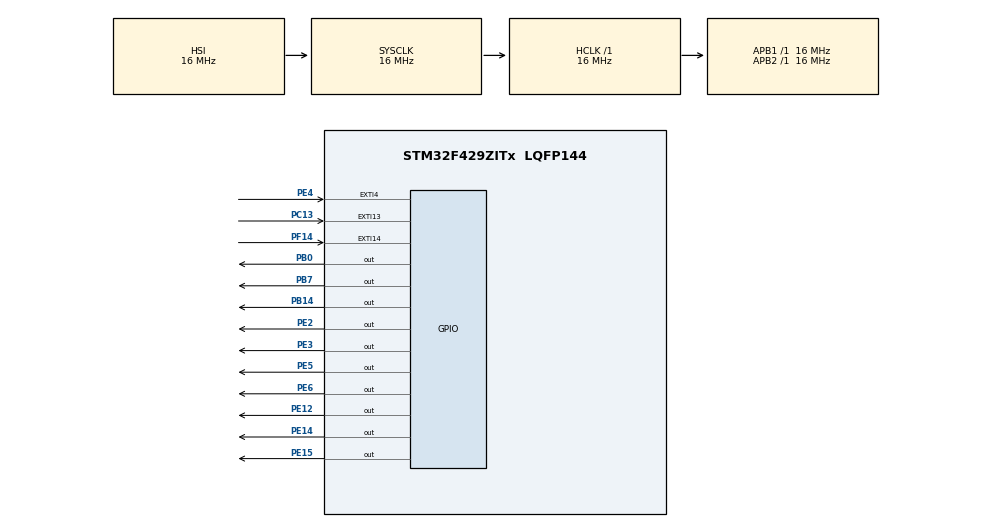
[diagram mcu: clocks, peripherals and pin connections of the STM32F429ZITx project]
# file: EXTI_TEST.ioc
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Mcu.Family=STM32F4
Mcu.Name=STM32F429ZITx
Mcu.Package=LQFP144
NVIC.EXTI15_10_IRQn=true\:0\:0\:false\:true\:true\:1\:true\:true\:true
NVIC.PriorityGroup=NVIC_PRIORITYGROUP_4
PB0.GPIO_Speed=GPIO_SPEED_FREQ_LOW
PB0.Signal=GPIO_Output
PB14.Signal=GPIO_Output
PB7.Signal=GPIO_Output
PC13.GPIO_PuPd=GPIO_PULLDOWN
PC13.Signal=GPXTI13
PE12.GPIO_PuPd=GPIO_PULLUP
PE12.Signal=GPIO_Output
PE14.Signal=GPIO_Output
PE15.Signal=GPIO_Output
PE2.Signal=GPIO_Output
PE3.Signal=GPIO_Output
PE4.Signal=GPXTI4
PE5.Signal=GPIO_Output
PE6.Signal=GPIO_Output
PF14.Signal=GPXTI14
ProjectManager.HeapSize=0x200
ProjectManager.StackSize=0x400
ProjectManager.TargetToolchain=STM32CubeIDE
RCC.AHBFreq_Value=16000000
RCC.APB1Freq_Value=16000000
RCC.APB2Freq_Value=16000000
RCC.CortexFreq_Value=16000000
RCC.HSE_VALUE=25000000
RCC.HSI_VALUE=16000000
RCC.LSE_VALUE=32768
RCC.SYSCLKFreq_VALUE=16000000
RCC.VCOOutputFreq_Value=192000000
board=custom

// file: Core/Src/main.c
/* USER CODE BEGIN Header */
/**
  ******************************************************************************
  * @file           : main.c
  * @brief          : Main program body
  ******************************************************************************
  * @attention
  *
  * Copyright (c) 2023 STMicroelectronics.
  * All rights reserved.
  *
  * This software is licensed under terms that can be found in the LICENSE file
  * in the root directory of this software component.
  * If no LICENSE file comes with this software, it is provided AS-IS.
  *
  ******************************************************************************
  */
/* USER CODE END Header */
#include "main.h"

void SystemClock_Config(void);
static void MX_GPIO_Init(void);
static void MX_NVIC_Init(void);
/* USER CODE BEGIN PFP */
//segment 핀 번호 설정
uint16_t a = GPIO_PIN_2;
uint16_t b = GPIO_PIN_12;
uint16_t c = GPIO_PIN_5;
uint16_t d = GPIO_PIN_6;
uint16_t e = GPIO_PIN_3;
uint16_t f = GPIO_PIN_14;
uint16_t g = GPIO_PIN_15;

char fnd[10][7] = {
{0,0,0,0,0,0,1}, // 0
{1,0,0,1,1,1,1}, // 1
{0,0,1,0,0,1,0}, // 2
{0,0,0,0,1,1,0}, // 3
{1,0,0,1,1,0,0}, // 4
{0,1,0,0,1,0,0}, // 5
{0,1,0,0,0,0,0}, // 6
{0,0,0,1,1,0,1}, // 7
{0,0,0,0,0,0,0}, // 8
{0,0,0,0,1,0,0}  // 9
};

int cnt = 0;

/* USER CODE END PFP */

int main(void)
{

  /* MCU Configuration--------------------------------------------------------*/

  /* Reset of all peripherals, Initializes the Flash interface and the Systick. */
  HAL_Init();

  /* Configure the system clock */
  SystemClock_Config();

  /* Initialize all configured peripherals */
  MX_GPIO_Init();

  /* Initialize interrupts */
  MX_NVIC_Init();

  /* Infinite loop */
  while (1)
  {
	//2차 배열로 출력하기.
	HAL_GPIO_WritePin(GPIOE, a, fnd[cnt][0]);
	HAL_GPIO_WritePin(GPIOE, b, fnd[cnt][1]);
	HAL_GPIO_WritePin(GPIOE, c, fnd[cnt][2]);
	HAL_GPIO_WritePin(GPIOE, d, fnd[cnt][3]);
	HAL_GPIO_WritePin(GPIOE, e, fnd[cnt][4]);
	HAL_GPIO_WritePin(GPIOE, f, fnd[cnt][5]);
	HAL_GPIO_WritePin(GPIOE, g, fnd[cnt][6]);
	HAL_Delay(300);
  }
}

void SystemClock_Config(void)
{
  RCC_OscInitTypeDef RCC_OscInitStruct = {0};
  RCC_ClkInitTypeDef RCC_ClkInitStruct = {0};

  /** Configure the main internal regulator output voltage
  */
  __HAL_RCC_PWR_CLK_ENABLE();
  __HAL_PWR_VOLTAGESCALING_CONFIG(PWR_REGULATOR_VOLTAGE_SCALE3);

  /** Initializes the RCC Oscillators according to the specified parameters
  * in the RCC_OscInitTypeDef structure.
  */
  RCC_OscInitStruct.OscillatorType = RCC_OSCILLATORTYPE_HSI;
  RCC_OscInitStruct.HSIState = RCC_HSI_ON;
  RCC_OscInitStruct.HSICalibrationValue = RCC_HSICALIBRATION_DEFAULT;
  RCC_OscInitStruct.PLL.PLLState = RCC_PLL_NONE;
  if (HAL_RCC_OscConfig(&RCC_OscInitStruct) != HAL_OK)
  {
    Error_Handler();
  }

  /** Initializes the CPU, AHB and APB buses clocks
  */
  RCC_ClkInitStruct.ClockType = RCC_CLOCKTYPE_HCLK|RCC_CLOCKTYPE_SYSCLK
                              |RCC_CLOCKTYPE_PCLK1|RCC_CLOCKTYPE_PCLK2;
  RCC_ClkInitStruct.SYSCLKSource = RCC_SYSCLKSOURCE_HSI;
  RCC_ClkInitStruct.AHBCLKDivider = RCC_SYSCLK_DIV1;
  RCC_ClkInitStruct.APB1CLKDivider = RCC_HCLK_DIV1;
  RCC_ClkInitStruct.APB2CLKDivider = RCC_HCLK_DIV1;

  if (HAL_RCC_ClockConfig(&RCC_ClkInitStruct, FLASH_LATENCY_0) != HAL_OK)
  {
    Error_Handler();
  }
}

/**
  * @brief NVIC Configuration.
  * @retval None
  */
static void MX_NVIC_Init(void)
{
  /* EXTI15_10_IRQn interrupt configuration */
  HAL_NVIC_SetPriority(EXTI15_10_IRQn, 0, 0);
  HAL_NVIC_EnableIRQ(EXTI15_10_IRQn);
//  HAL_NVIC_DisableIRQ(EXTI15_10_IRQn);

}

/*
 * pin 설정
 * PE를 segment output 으로 설정
 * PF14를 down button input으로 설정
 * PC13을 up button input으로 설정
 */
static void MX_GPIO_Init(void)
{
  GPIO_InitTypeDef GPIO_InitStruct = {0};

  /* GPIO Ports Clock Enable */
  __HAL_RCC_GPIOE_CLK_ENABLE();
  __HAL_RCC_GPIOC_CLK_ENABLE();
  __HAL_RCC_GPIOB_CLK_ENABLE();
  __HAL_RCC_GPIOF_CLK_ENABLE();

  /*Configure GPIO pin Output Level */
  HAL_GPIO_WritePin(GPIOE, GPIO_PIN_2|GPIO_PIN_3|GPIO_PIN_5|GPIO_PIN_6
                          |GPIO_PIN_12|GPIO_PIN_14|GPIO_PIN_15, GPIO_PIN_RESET);

  /*Configure GPIO pin Output Level */
  HAL_GPIO_WritePin(GPIOB, GPIO_PIN_0|GPIO_PIN_14|GPIO_PIN_7, GPIO_PIN_RESET);

  /*Configure GPIO pins : PE2 PE3 PE5 PE6
                           PE14 PE15 */
  GPIO_InitStruct.Pin = GPIO_PIN_2|GPIO_PIN_3|GPIO_PIN_5|GPIO_PIN_6
                          |GPIO_PIN_14|GPIO_PIN_15;
  GPIO_InitStruct.Mode = GPIO_MODE_OUTPUT_PP;
  GPIO_InitStruct.Pull = GPIO_PULLUP;
  GPIO_InitStruct.Speed = GPIO_SPEED_FREQ_LOW;
  HAL_GPIO_Init(GPIOE, &GPIO_InitStruct);

  /*Configure GPIO pin : PE4 */
  GPIO_InitStruct.Pin = GPIO_PIN_4;
  GPIO_InitStruct.Mode = GPIO_MODE_IT_RISING;
  GPIO_InitStruct.Pull = GPIO_PULLUP;
  HAL_GPIO_Init(GPIOE, &GPIO_InitStruct);

  /*Configure GPIO pin : PC13 */
  GPIO_InitStruct.Pin = GPIO_PIN_13;
  GPIO_InitStruct.Mode = GPIO_MODE_IT_RISING;
  GPIO_InitStruct.Pull = GPIO_PULLDOWN;
  HAL_GPIO_Init(GPIOC, &GPIO_InitStruct);

  /*Configure GPIO pins : PB0 PB14 PB7 */
  GPIO_InitStruct.Pin = GPIO_PIN_0|GPIO_PIN_14|GPIO_PIN_7;
  GPIO_InitStruct.Mode = GPIO_MODE_OUTPUT_PP;
  GPIO_InitStruct.Pull = GPIO_NOPULL;
  GPIO_InitStruct.Speed = GPIO_SPEED_FREQ_LOW;
  HAL_GPIO_Init(GPIOB, &GPIO_InitStruct);

  /*Configure GPIO pin : PF14 */
  GPIO_InitStruct.Pin = GPIO_PIN_14;
  GPIO_InitStruct.Mode = GPIO_MODE_IT_RISING;
  GPIO_InitStruct.Pull = GPIO_NOPULL;
  HAL_GPIO_Init(GPIOF, &GPIO_InitStruct);

  /*Configure GPIO pin : PE12 */
  GPIO_InitStruct.Pin = GPIO_PIN_12;
  GPIO_InitStruct.Mode = GPIO_MODE_OUTPUT_PP;
  GPIO_InitStruct.Pull = GPIO_PULLUP;
  GPIO_InitStruct.Speed = GPIO_SPEED_FREQ_LOW;
  HAL_GPIO_Init(GPIOE, &GPIO_InitStruct);

}

/* USER CODE BEGIN 4 */
//채터링을 제어하기 위한 변수
uint32_t start = 0;

//interrupt가 발생하면 실행되는 콜백함수. 재정의하여 사용함. 외부 인터럽트는 핀의 개수인 16개까지만 사용 가능. 각 핀마다 하나씩 작동함.
void HAL_GPIO_EXTI_Callback(uint16_t GPIO_Pin)
{
	//HAL_GetTick()은 프로그램이 실행되고 흐른 시간을 millisecond로 반환한다.
	//인터럽트가 발생하면 그 시간을 저장.
	uint32_t currentTime = HAL_GetTick();

	if(GPIO_Pin == GPIO_PIN_13) // UP Button
	{
		if(currentTime - start > 500) { //채터링에 의해 인터럽트가 발생하더라도 그 시간의 차이가 500ms보다 클때만 실행이 되도록 하여 채터링을 조절함.
			cnt++;
			start = currentTime;	//start 시간을 인터럽트가 발생한 시간으로 초기화해준다.
		}
		if(cnt > 9) cnt = 0;
	}
	if(GPIO_Pin == GPIO_PIN_14) // Down Button
	{
		if(currentTime - start > 500) {
			cnt--;
			start = currentTime;
		}
		if(cnt < 0) cnt = 9;
	}
}
/* USER CODE END 4 */

void Error_Handler(void)
{
  __disable_irq();
  while (1)
  {
  }
}
